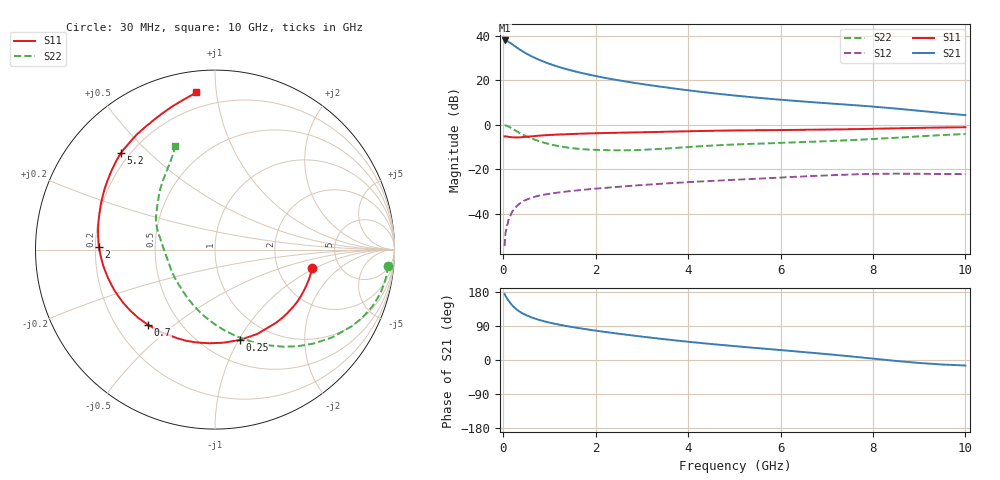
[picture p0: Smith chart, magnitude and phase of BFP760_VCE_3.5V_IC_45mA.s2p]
! Infineon Technologies  Discrete & RF Semiconductors
! BFP760
! VCE =  3.5 V,  IC =  45 mA
! Common Emitter S-Parameters:  Nov 2012
# GHz  S  MA  R  50
!  f  S11  S21  S12  S22
! GHz  MAG  ANG  MAG  ANG  MAG  ANG  MAG  ANG
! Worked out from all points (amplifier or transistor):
!   99 points, 30 MHz to 10 GHz, reference 50 ohm
!   highest |S21| = 37.8 dB at 30 MHz (marker M1)
!   |S21| within 3 dB of that: start of sweep to 282.9 MHz
!   unconditionally stable (mu >= 1): 3.812 GHz to end of sweep
!   at 350 MHz: K = 0.35, MSG = 34.6 dB, |S12| = -35.4 dB
!   at 3.5 GHz: K = 0.97, MSG = 21.6 dB, |S12| = -26.3 dB
!   at 10 GHz: K = 1.05, MAG = 11.8 dB, |S12| = -22.1 dB
!   S11 on the Smith chart (normalised r, x): 30 MHz: 3.13, -0.91; 250 MHz: 0.73, -1.01; 700 MHz: 0.33, -0.41; 2 GHz: 0.21, +0.01; 5.2 GHz: 0.17, +0.41; 10 GHz: 0.11, +0.88
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0.03  0.5477 -10.7  77.71 173.8  0.0019 86.2  0.9655 -5.3
0.07  0.5453 -24.8  76.23 165.2  0.0047 81.1  0.9551 -13.9
0.1  0.541 -34.8  73.66 159.5  0.0062 76.8  0.9313 -20.0
0.13  0.5346 -44.1  70.65 154.2  0.0083 71.5  0.8983 -25.6
0.15  0.5308 -50.1  68.64 150.9  0.009 71.4  0.8749 -29.1
0.2  0.5258 -63.4  63.23 143.7  0.0115 66.8  0.8154 -36.9
0.25  0.5223 -74.8  58.18 137.6  0.0134 63.1  0.7587 -43.6
0.35  0.5229 -93.5  49.22 128.1  0.0169 57.0  0.6619 -54.8
0.45  0.5327 -107.5  42.38 121.0  0.0199 52.7  0.5861 -64.0
0.6  0.5497 -123.4  34.83 113.0  0.023 48.5  0.5007 -75.6
0.7  0.561 -131.6  31.06 108.7  0.0246 45.8  0.4573 -82.6
0.9  0.5819 -144.5  25.43 101.7  0.0273 42.2  0.3921 -95.2
1.1  0.5978 -154.3  21.44 96.0  0.0294 40.5  0.3482 -106.2
1.7  0.6327 -174.1  14.48 83.0  0.0346 38.1  0.2842 -132.8
2  0.6468 178.7  12.42 77.5  0.0371 37.2  0.2741 -143.9
2.6  0.6666 167.0  9.536 67.7  0.0416 36.9  0.268 -162.3
3.4  0.694 154.1  7.157 56.1  0.0475 35.5  0.2885 177.9
5.1  0.7484 135.2  4.431 35.7  0.0591 31.7  0.3651 154.3
5.2  0.7507 134.4  4.331 34.5  0.0598 31.5  0.3682 153.3
6.7  0.7765 123.7  3.205 18.8  0.0711 26.7  0.4178 139.5
8.5  0.8336 106.4  2.309 -2.5  0.0803 15.3  0.5118 121.9
10  0.8827 96.9  1.648 -14.6  0.0785 10.1  0.6211 111.3
